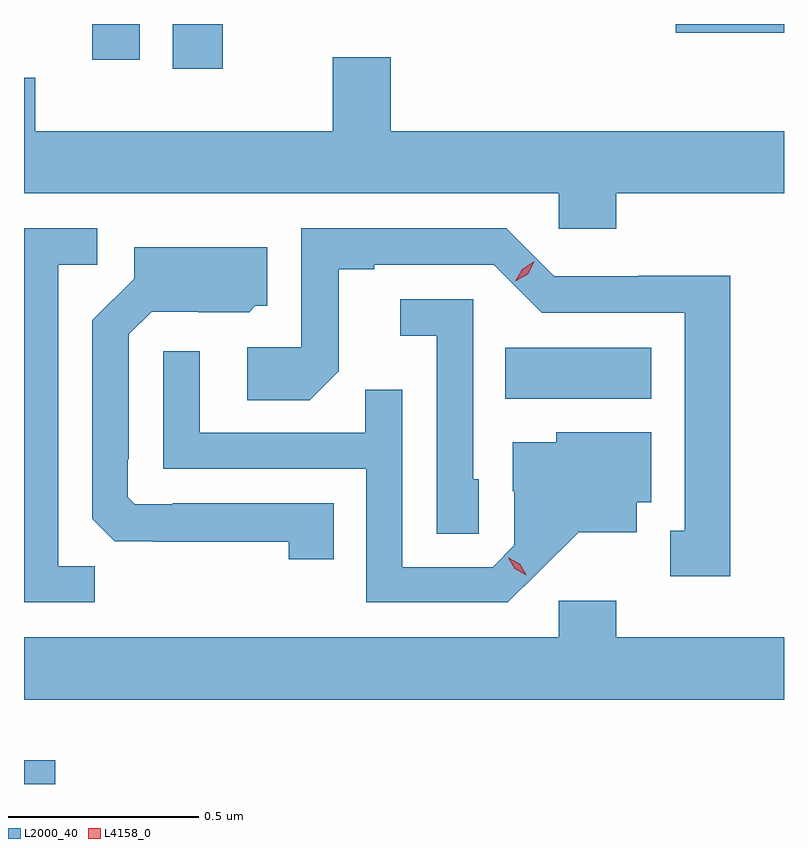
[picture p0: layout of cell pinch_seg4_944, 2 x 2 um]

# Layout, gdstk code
import gdstk
lib = gdstk.Library(unit=1e-6, precision=1e-09)
def R(c, l, rs):  # rectangles x0, y0, x1, y1
    for r in rs: c.add(gdstk.rectangle(r[:2], r[2:], *l))
def P(c, l, *ps):  # polygons
    for p in ps: c.add(gdstk.Polygon(p, *l))
L2000_40 = (2000, 40)
L4158_0 = (4158, 0)

pinch_seg4_944 = lib.new_cell('pinch_seg4_944')
R(pinch_seg4_944, L2000_40, [(650.253,799.262,650.335,799.324), (651.52,800.276,651.904,800.41), (650.645,801.144,650.776,801.262), (650.432,801.168,650.557,801.262), (651.968,801.239,652.253,801.262)])
P(pinch_seg4_944, L2000_40, [(651.812,800.816),(652.253,800.816),(652.253,800.98),(651.218,800.98),(651.218,801.175),(651.065,801.175),(651.065,800.98),(650.282,800.98),(650.282,801.121),(650.253,801.121),(650.253,800.816),(651.66,800.816),(651.66,800.723),(651.812,800.723)],
  [(652.111,800.6),(651.87,800.6),(651.87,800.598),(651.648,800.598),(651.522,800.724),(650.982,800.724),(650.982,800.412),(650.841,800.412),(650.841,800.272),(651.005,800.272),(651.081,800.348),(651.081,800.616),(651.175,800.616),(651.175,800.628),(651.489,800.628),(651.615,800.502),(651.992,800.502),(651.992,799.929),(651.953,799.929),(651.953,799.809),(652.111,799.809)],
  [(650.439,799.835),(650.343,799.835),(650.343,800.628),(650.446,800.628),(650.446,800.724),(650.253,800.724),(650.253,799.74),(650.439,799.74)],
  [(651.068,800.001),(650.644,800.001),(650.644,799.998),(650.544,799.998),(650.526,800.016),(650.526,800.116),(650.529,800.116),(650.529,800.445),(650.589,800.505),(650.712,800.505),(650.712,800.504),(650.846,800.504),(650.862,800.52),(650.893,800.52),(650.893,800.674),(650.543,800.674),(650.543,800.592),(650.433,800.482),(650.433,799.96),(650.492,799.901),(650.593,799.901),(650.593,799.9),(650.95,799.9),(650.95,799.854),(651.068,799.854)],
  [(651.45,800.064),(651.435,800.064),(651.435,800.538),(651.243,800.538),(651.243,800.441),(651.339,800.441),(651.339,799.921),(651.45,799.921)],
  [(651.61,799.823),(651.713,799.925),(651.865,799.925),(651.865,800.004),(651.904,800.004),(651.904,800.188),(651.654,800.188),(651.654,800.161),(651.539,800.161),(651.539,800.032),(651.543,800.032),(651.543,799.89),(651.486,799.833),(651.249,799.833),(651.249,800.3),(651.151,800.3),(651.151,800.187),(650.715,800.187),(650.715,800.401),(650.619,800.401),(650.619,800.091),(651.153,800.091),(651.153,799.74),(651.526,799.74)],
  [(652.253,799.648),(651.812,799.648),(651.812,799.744),(651.66,799.744),(651.66,799.648),(650.253,799.648),(650.253,799.484),(652.253,799.484)])
P(pinch_seg4_944, L4158_0, [(651.546,800.585),(651.546,800.585),(651.564,800.617),(651.595,800.636),(651.596,800.636),(651.596,800.636),(651.578,800.603),(651.546,800.585)],
  [(651.575,799.812),(651.544,799.828),(651.527,799.857),(651.527,799.858),(651.528,799.858),(651.558,799.842),(651.575,799.813),(651.575,799.812)])

lib.write_gds('pinch_seg4_944.gds')
